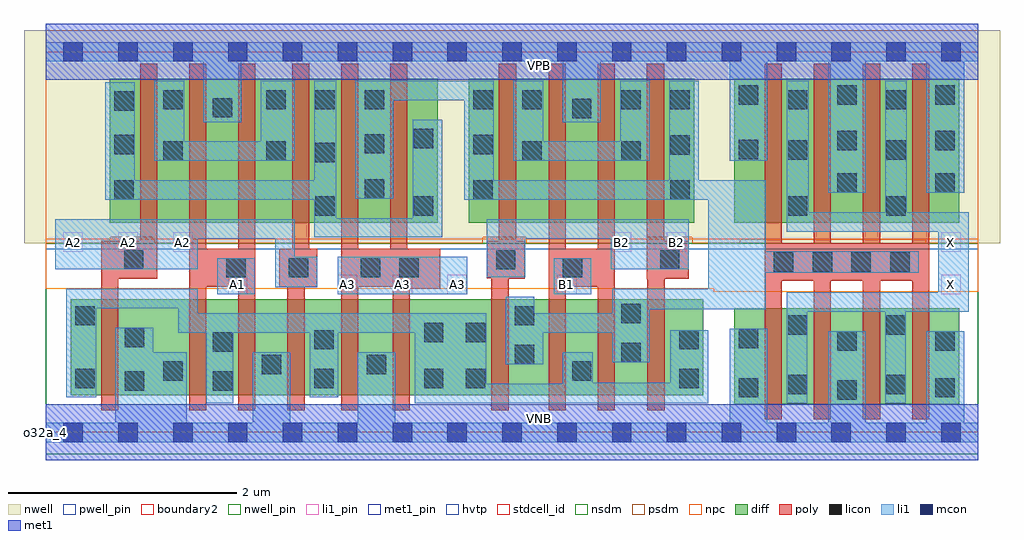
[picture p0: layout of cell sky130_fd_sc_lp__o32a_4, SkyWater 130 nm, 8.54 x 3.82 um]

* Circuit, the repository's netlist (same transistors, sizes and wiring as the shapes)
* Copyright 2020 The SkyWater PDK Authors
*
* Licensed under the Apache License, Version 2.0 (the "License");
* you may not use this file except in compliance with the License.
* You may obtain a copy of the License at
*
*     https://www.apache.org/licenses/LICENSE-2.0
*
* Unless required by applicable law or agreed to in writing, software
* distributed under the License is distributed on an "AS IS" BASIS,
* WITHOUT WARRANTIES OR CONDITIONS OF ANY KIND, either express or implied.
* See the License for the specific language governing permissions and
* limitations under the License.
*
* SPDX-License-Identifier: Apache-2.0

.SUBCKT sky130_fd_sc_lp__o32a_4 A1 A2 A3 B1 B2 VGND VNB VPB VPWR X
*.PININFO A1:I A2:I A3:I B1:I B2:I VGND:I VNB:I VPB:I VPWR:I X:O
MMPA0 VPWR A1 sndA1 VPB sky130_fd_pr__pfet_01v8_hvt m=2 w=1.26U l=0.15U mult=1
+ sa=0.265 sb=0.265 sd=0.28 area=0.063 perim=1.14
MMPA1 sndA1 A2 sndA2 VPB sky130_fd_pr__pfet_01v8_hvt m=2 w=1.26U l=0.15U mult=1
+ sa=0.265 sb=0.265 sd=0.28 area=0.063 perim=1.14
MMPA2 sndA2 A3 y VPB sky130_fd_pr__pfet_01v8_hvt m=2 w=1.26U l=0.15U mult=1 sa=0.265
+ sb=0.265 sd=0.28 area=0.063 perim=1.14
MMPB0 VPWR B1 sndB1 VPB sky130_fd_pr__pfet_01v8_hvt m=2 w=1.26U l=0.15U mult=1
+ sa=0.265 sb=0.265 sd=0.28 area=0.063 perim=1.14
MMPB1 sndB1 B2 y VPB sky130_fd_pr__pfet_01v8_hvt m=2 w=1.26U l=0.15U mult=1 sa=0.265
+ sb=0.265 sd=0.28 area=0.063 perim=1.14
MMIPX X y VPWR VPB sky130_fd_pr__pfet_01v8_hvt m=4 w=1.26U l=0.15U mult=1 sa=0.265
+ sb=0.265 sd=0.28 area=0.063 perim=1.14
MMNA0 pndA A1 VGND VNB sky130_fd_pr__nfet_01v8 m=2 w=0.84U l=0.15U mult=1 sa=0.265
+ sb=0.265 sd=0.28 area=0.063 perim=1.14
MMNA1 pndA A2 VGND VNB sky130_fd_pr__nfet_01v8 m=2 w=0.84U l=0.15U mult=1 sa=0.265
+ sb=0.265 sd=0.28 area=0.063 perim=1.14
MMNA2 pndA A3 VGND VNB sky130_fd_pr__nfet_01v8 m=2 w=0.84U l=0.15U mult=1 sa=0.265
+ sb=0.265 sd=0.28 area=0.063 perim=1.14
MMNB0 y B1 pndA VNB sky130_fd_pr__nfet_01v8 m=2 w=0.84U l=0.15U mult=1 sa=0.265
+ sb=0.265 sd=0.28 area=0.063 perim=1.14
MMNB1 y B2 pndA VNB sky130_fd_pr__nfet_01v8 m=2 w=0.84U l=0.15U mult=1 sa=0.265
+ sb=0.265 sd=0.28 area=0.063 perim=1.14
MMINX X y VGND VNB sky130_fd_pr__nfet_01v8 m=4 w=0.84U l=0.15U mult=1 sa=0.265
+ sb=0.265 sd=0.28 area=0.063 perim=1.14
.ENDS sky130_fd_sc_lp__o32a_4

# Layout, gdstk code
import gdstk
lib = gdstk.Library(unit=1e-6, precision=1e-09)
def R(c, l, rs):  # rectangles x0, y0, x1, y1
    for r in rs: c.add(gdstk.rectangle(r[:2], r[2:], *l))
def A(c, l, x, y, w, h, nx, ny, dx, dy):  # array of equal rectangles
    R(c, l, [(x+i*dx, y+j*dy, x+i*dx+w, y+j*dy+h) for i in range(nx) for j in range(ny)])
def P(c, l, *ps):  # polygons
    for p in ps: c.add(gdstk.Polygon(p, *l))
nwell_pin = (64, 16)
nwell = (64, 20)
diff = (65, 20)
poly = (66, 20)
licon = (66, 44)
li1_pin = (67, 16)
li1 = (67, 20)
mcon = (67, 44)
met1_pin = (68, 16)
met1 = (68, 20)
hvtp = (78, 44)
stdcell_id = (81, 4)
nsdm = (93, 44)
psdm = (94, 20)
npc = (95, 20)
pwell_pin = (122, 16)
boundary2 = (236, 0)

sky130_fd_sc_lp__o32a_4 = lib.new_cell('sky130_fd_sc_lp__o32a_4')
R(sky130_fd_sc_lp__o32a_4, nwell_pin, [(0,3.085,8.16,3.33)])
R(sky130_fd_sc_lp__o32a_4, nwell, [(-0.19,1.655,8.35,3.52)])
R(sky130_fd_sc_lp__o32a_4, diff, [(6.025,0.245,7.995,1.085), (0.22,0.325,5.755,1.165), (0.56,1.835,3.43,3.095), (3.7,1.835,5.675,3.095), (6.025,1.835,7.995,3.095)])
P(sky130_fd_sc_lp__o32a_4, poly, [(7.73,3.225),(7.58,3.225),(7.58,1.655),(7.3,1.655),(7.3,3.225),(7.15,3.225),(7.15,1.655),(6.87,1.655),(6.87,3.225),(6.72,3.225),(6.72,1.655),(6.44,1.655),(6.44,3.225),(6.29,3.225),(6.29,0.115),(6.44,0.115),(6.44,1.325),(6.72,1.325),(6.72,0.115),(6.87,0.115),(6.87,1.325),(7.15,1.325),(7.15,0.115),(7.3,0.115),(7.3,1.325),(7.58,1.325),(7.58,0.115),(7.73,0.115)],
  [(0.975,3.225),(0.825,3.225),(0.825,1.675),(0.485,1.675),(0.485,0.195),(0.635,0.195),(0.635,1.345),(0.975,1.345)],
  [(1.835,3.225),(1.685,3.225),(1.685,1.605),(1.405,1.605),(1.405,3.225),(1.255,3.225),(1.255,0.195),(1.405,0.195),(1.405,1.275),(1.685,1.275),(1.685,0.195),(1.835,0.195)],
  [(5.625,1.675),(5.41,1.675),(5.41,3.225),(5.26,3.225),(5.26,1.345),(5.265,1.345),(5.265,0.195),(5.415,0.195),(5.415,1.345),(5.625,1.345)],
  [(2.375,1.605),(2.305,1.605),(2.305,3.225),(2.155,3.225),(2.155,1.605),(2.045,1.605),(2.045,1.275),(2.115,1.275),(2.115,0.195),(2.265,0.195),(2.265,1.275),(2.375,1.275)],
  [(3.45,1.605),(3.165,1.605),(3.165,3.225),(3.015,3.225),(3.015,1.605),(2.735,1.605),(2.735,3.225),(2.585,3.225),(2.585,0.195),(2.735,0.195),(2.735,1.275),(3.035,1.275),(3.035,0.195),(3.185,0.195),(3.185,1.255),(3.45,1.255)],
  [(4.19,1.675),(4.115,1.675),(4.115,3.225),(3.965,3.225),(3.965,1.675),(3.86,1.675),(3.86,1.35),(3.9,1.35),(3.9,0.195),(4.05,0.195),(4.05,1.345),(4.19,1.345)],
  [(4.98,3.225),(4.83,3.225),(4.83,1.605),(4.55,1.605),(4.55,3.225),(4.4,3.225),(4.4,0.195),(4.55,0.195),(4.55,1.275),(4.83,1.275),(4.83,0.195),(4.98,0.195)])
A(sky130_fd_sc_lp__o32a_4, licon, 6.37, 1.405, 0.17, 0.17, 4, 1, 0.34, 0)
A(sky130_fd_sc_lp__o32a_4, licon, 5.465, 2.035, 0.17, 0.17, 1, 3, 0, 0.395)
A(sky130_fd_sc_lp__o32a_4, licon, 1.93, 2.825, 0.17, 0.17, 3, 1, 0.43, 0)
A(sky130_fd_sc_lp__o32a_4, licon, 6.065, 2.865, 0.17, 0.17, 3, 1, 0.86, 0)
R(sky130_fd_sc_lp__o32a_4, licon, [(6.925,0.285,7.095,0.455), (6.065,0.305,6.235,0.475), (7.785,0.305,7.955,0.475), (6.495,0.335,6.665,0.505), (7.355,0.335,7.525,0.505), (0.69,0.365,0.86,0.535), (1.46,0.365,1.63,0.535), (0.26,0.385,0.43,0.555), (2.35,0.385,2.52,0.555), (3.31,0.385,3.48,0.555), (3.675,0.385,3.845,0.555), (5.545,0.385,5.715,0.555), (1.03,0.45,1.2,0.62), (4.605,0.45,4.775,0.62), (1.89,0.51,2.06,0.68), (2.81,0.51,2.98,0.68), (4.105,0.595,4.275,0.765), (5.035,0.615,5.205,0.785), (1.46,0.705,1.63,0.875), (6.925,0.715,7.095,0.885), (7.785,0.715,7.955,0.885), (2.35,0.725,2.52,0.895), (5.545,0.725,5.715,0.895), (6.065,0.735,6.235,0.905), (0.69,0.745,0.86,0.915), (3.31,0.79,3.48,0.96), (3.675,0.79,3.845,0.96), (6.495,0.855,6.665,1.025), (7.355,0.855,7.525,1.025), (0.26,0.935,0.43,1.105), (4.105,0.935,4.275,1.105), (5.035,0.955,5.205,1.125), (1.58,1.355,1.75,1.525), (2.125,1.355,2.295,1.525), (2.755,1.355,2.925,1.525), (3.095,1.355,3.265,1.525), (4.525,1.355,4.695,1.525), (0.685,1.425,0.855,1.595), (3.94,1.425,4.11,1.595), (5.375,1.425,5.545,1.595), (2.36,1.895,2.53,2.065), (3.22,1.895,3.39,2.065), (6.495,1.895,6.665,2.065), (7.355,1.895,7.525,2.065), (0.6,2.035,0.77,2.205), (3.74,2.035,3.91,2.205), (2.79,2.045,2.96,2.215), (6.925,2.095,7.095,2.265), (7.785,2.095,7.955,2.265), (2.36,2.365,2.53,2.535), (1.03,2.375,1.2,2.545), (1.93,2.375,2.1,2.545), (4.17,2.375,4.34,2.545), (5.035,2.375,5.205,2.545), (6.495,2.385,6.665,2.555), (7.355,2.385,7.525,2.555), (6.065,2.39,6.235,2.56), (0.6,2.435,0.77,2.605), (3.74,2.435,3.91,2.605), (2.79,2.44,2.96,2.61), (6.925,2.47,7.095,2.64), (7.785,2.47,7.955,2.64), (3.22,2.485,3.39,2.655), (4.605,2.75,4.775,2.92), (1.46,2.755,1.63,2.925), (0.6,2.815,0.77,2.985), (1.03,2.825,1.2,2.995), (3.74,2.825,3.91,2.995), (4.17,2.825,4.34,2.995), (5.035,2.825,5.205,2.995), (6.495,2.825,6.665,2.995), (7.355,2.825,7.525,2.995)])
A(sky130_fd_sc_lp__o32a_4, li1_pin, 2.555, 1.21, 0.17, 0.17, 3, 1, 0.48, 0)
A(sky130_fd_sc_lp__o32a_4, li1_pin, 0.155, 1.58, 0.17, 0.17, 3, 1, 0.48, 0)
R(sky130_fd_sc_lp__o32a_4, li1_pin, [(1.595,1.21,1.765,1.38), (4.475,1.21,4.645,1.38), (7.835,1.21,8.005,1.38), (4.955,1.58,5.125,1.75), (5.435,1.58,5.605,1.75), (7.835,1.58,8.005,1.75)])
R(sky130_fd_sc_lp__o32a_4, li1, [(1.5,1.21,1.83,1.525), (2.555,1.21,3.69,1.535), (4.445,1.21,4.775,1.525)])
P(sky130_fd_sc_lp__o32a_4, li1, [(7.64,1.585),(6.3,1.585),(6.3,2.205),(5.715,2.205),(5.715,3.075),(5.455,3.075),(5.455,2.205),(3.92,2.205),(3.92,3.075),(2.71,3.075),(2.71,2.045),(3.04,2.045),(3.04,2.905),(3.66,2.905),(3.66,2.035),(5.795,2.035),(5.795,1.255),(4.955,1.255),(4.955,1.04),(4.275,1.04),(4.275,1.185),(4.025,1.185),(4.025,0.595),(4.355,0.595),(4.355,0.87),(4.955,0.87),(4.955,0.615),(5.285,0.615),(5.285,1.075),(6.3,1.075),(6.3,1.395),(7.64,1.395)],
  [(8.16,3.415),(0,3.415),(0,3.245),(1.38,3.245),(1.38,2.715),(1.71,2.715),(1.71,3.245),(4.525,3.245),(4.525,2.715),(4.855,2.715),(4.855,3.245),(5.985,3.245),(5.985,2.375),(6.315,2.375),(6.315,3.245),(6.845,3.245),(6.845,2.095),(7.175,2.095),(7.175,3.245),(7.705,3.245),(7.705,2.095),(8.035,2.095),(8.035,3.245),(8.16,3.245)],
  [(8.075,1.925),(7.535,1.925),(7.535,3.075),(7.345,3.075),(7.345,1.925),(6.675,1.925),(6.675,3.075),(6.485,3.075),(6.485,1.755),(7.81,1.755),(7.81,1.225),(6.485,1.225),(6.485,0.255),(6.665,0.255),(6.665,1.055),(7.345,1.055),(7.345,0.255),(7.525,0.255),(7.525,1.055),(8.075,1.055)],
  [(2.18,3.075),(1.88,3.075),(1.88,2.545),(1.21,2.545),(1.21,3.075),(0.95,3.075),(0.95,2.375),(2.18,2.375)],
  [(8.16,0.085),(8.035,0.085),(8.035,0.885),(7.705,0.885),(7.705,0.085),(7.175,0.085),(7.175,0.885),(6.845,0.885),(6.845,0.085),(6.315,0.085),(6.315,0.905),(5.985,0.905),(5.985,0.085),(3.06,0.085),(3.06,0.7),(2.73,0.7),(2.73,0.085),(2.14,0.085),(2.14,0.7),(1.81,0.7),(1.81,0.085),(1.235,0.085),(1.235,0.7),(0.94,0.7),(0.94,0.915),(0.61,0.915),(0.61,0.085),(0,0.085),(0,-0.085),(8.16,-0.085)],
  [(5.795,0.895),(5.465,0.895),(5.465,0.435),(4.785,0.435),(4.785,0.7),(4.525,0.7),(4.525,0.425),(3.855,0.425),(3.855,1.04),(1.33,1.04),(1.33,1.255),(0.18,1.255),(0.18,0.305),(0.44,0.305),(0.44,1.085),(1.16,1.085),(1.16,0.87),(1.405,0.87),(1.405,0.255),(1.64,0.255),(1.64,0.87),(2.31,0.87),(2.31,0.305),(2.56,0.305),(2.56,0.87),(3.23,0.87),(3.23,0.255),(5.795,0.255)],
  [(2.375,1.535),(2.18,1.535),(2.18,1.865),(0.085,1.865),(0.085,1.425),(1.33,1.425),(1.33,1.695),(2.01,1.695),(2.01,1.27),(2.375,1.27)],
  [(3.47,2.735),(3.21,2.735),(3.21,1.875),(2.54,1.875),(2.54,3.075),(2.35,3.075),(2.35,2.205),(0.78,2.205),(0.78,3.065),(0.52,3.065),(0.52,2.035),(2.35,2.035),(2.35,1.705),(3.47,1.705)],
  [(5.285,3.075),(5.025,3.075),(5.025,2.545),(4.355,2.545),(4.355,3.075),(4.09,3.075),(4.09,2.375),(5.285,2.375)],
  [(5.625,1.865),(3.86,1.865),(3.86,1.355),(4.195,1.355),(4.195,1.695),(4.945,1.695),(4.945,1.425),(5.625,1.425)])
A(sky130_fd_sc_lp__o32a_4, mcon, 0.155, -0.085, 0.17, 0.17, 17, 2, 0.48, 3.33)
R(sky130_fd_sc_lp__o32a_4, met1_pin, [(0,0,8.16,0.245), (0,3.085,8.16,3.33)])
R(sky130_fd_sc_lp__o32a_4, met1, [(0,-0.245,8.16,0.245), (0,3.085,8.16,3.575)])
R(sky130_fd_sc_lp__o32a_4, hvtp, [(0,1.6,8.16,3.33)])
R(sky130_fd_sc_lp__o32a_4, stdcell_id, [(0,0,8.16,3.33)])
R(sky130_fd_sc_lp__o32a_4, nsdm, [(0,-0.19,8.16,1.655)])
P(sky130_fd_sc_lp__o32a_4, psdm, [(8.16,3.52),(0,3.52),(0,1.655),(0.565,1.655),(0.565,1.705),(0.95,1.705),(0.95,1.655),(3.825,1.655),(3.825,1.705),(4.205,1.705),(4.205,1.655),(5.265,1.655),(5.265,1.705),(5.655,1.705),(5.655,1.655),(6.075,1.655),(6.075,1.685),(7.695,1.685),(7.695,1.655),(8.16,1.655)])
P(sky130_fd_sc_lp__o32a_4, npc, [(8.16,1.695),(0,1.695),(0,1.255),(5.845,1.255),(5.845,1.23),(8.16,1.23)])
R(sky130_fd_sc_lp__o32a_4, pwell_pin, [(0,0,8.16,0.245)])
R(sky130_fd_sc_lp__o32a_4, boundary2, [(0,0,8.16,3.33)])
sky130_fd_sc_lp__o32a_4.add(gdstk.Label('VNB', (4.32,0.123), layer=64, texttype=59))
sky130_fd_sc_lp__o32a_4.add(gdstk.Label('VPB', (4.32,3.208), layer=64, texttype=5))
sky130_fd_sc_lp__o32a_4.add(gdstk.Label('o32a_4', (0,0), layer=83, texttype=44))
sky130_fd_sc_lp__o32a_4.add(gdstk.Label('VPWR', (4.32,3.208), layer=68, texttype=5))
sky130_fd_sc_lp__o32a_4.add(gdstk.Label('VGND', (4.32,0.123), layer=68, texttype=5))
sky130_fd_sc_lp__o32a_4.add(gdstk.Label('A1', (1.68,1.295), layer=67, texttype=5))
sky130_fd_sc_lp__o32a_4.add(gdstk.Label('A2', (0.24,1.665), layer=67, texttype=5))
sky130_fd_sc_lp__o32a_4.add(gdstk.Label('A2', (0.72,1.665), layer=67, texttype=5))
sky130_fd_sc_lp__o32a_4.add(gdstk.Label('A2', (1.2,1.665), layer=67, texttype=5))
sky130_fd_sc_lp__o32a_4.add(gdstk.Label('A3', (2.64,1.295), layer=67, texttype=5))
sky130_fd_sc_lp__o32a_4.add(gdstk.Label('A3', (3.12,1.295), layer=67, texttype=5))
sky130_fd_sc_lp__o32a_4.add(gdstk.Label('A3', (3.6,1.295), layer=67, texttype=5))
sky130_fd_sc_lp__o32a_4.add(gdstk.Label('B1', (4.56,1.295), layer=67, texttype=5))
sky130_fd_sc_lp__o32a_4.add(gdstk.Label('X', (7.92,1.295), layer=67, texttype=5))
sky130_fd_sc_lp__o32a_4.add(gdstk.Label('X', (7.92,1.665), layer=67, texttype=5))
sky130_fd_sc_lp__o32a_4.add(gdstk.Label('B2', (5.04,1.665), layer=67, texttype=5))
sky130_fd_sc_lp__o32a_4.add(gdstk.Label('B2', (5.52,1.665), layer=67, texttype=5))

lib.write_gds('sky130_fd_sc_lp__o32a_4.gds')
